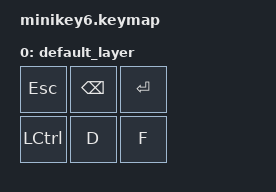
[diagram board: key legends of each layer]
#include <behaviors.dtsi>
#include <dt-bindings/zmk/keys.h>

/ {
    keymap {
        compatible = "zmk,keymap";

        default_layer {
            bindings = <
                &kp ESC    &kp BSPC   &kp ENTER
                &kp LCTRL  &kp D      &kp F
            >;
        };
    };
};
